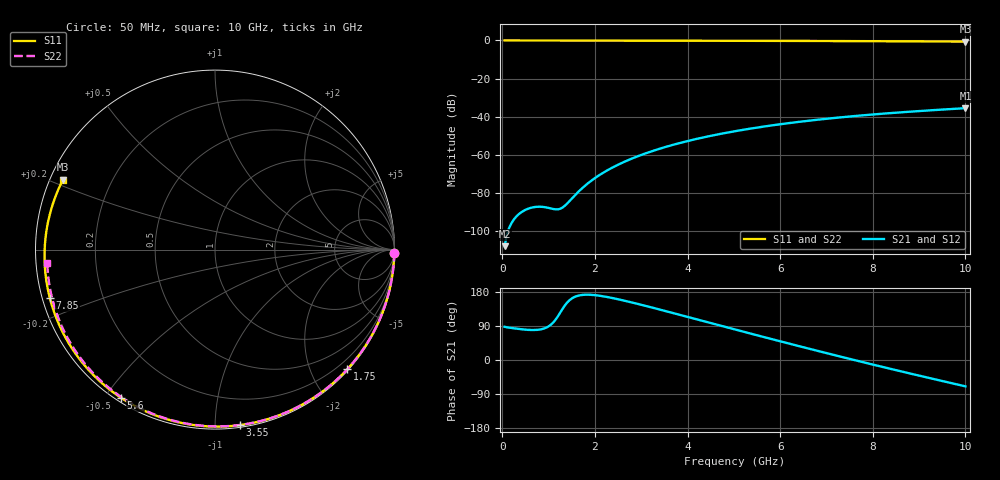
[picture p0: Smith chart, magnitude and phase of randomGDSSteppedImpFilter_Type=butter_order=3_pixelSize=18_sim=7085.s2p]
! freq	dB(S11)	phase(S11)	dB(S12)	phase(S12)
!  dB(S21)	phase(S21)	dB(S22)	phase(S22)
!S-par simulation data
#  GHz  S  DB  R 50
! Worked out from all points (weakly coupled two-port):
!   200 points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, 50 MHz to 10 GHz, reference 50 ohm
!   highest |S21| = -35.47 dB at 10 GHz (marker M1); lowest = -107.7 dB at 50 MHz (marker M2)
!   lowest |S11| = -0.6 dB at 10 GHz (marker M3), VSWR 28.59, Z = 1.83 + j10.9 ohm
!   |S11| at or under -10 dB: nowhere
!   |S22| runs from -0.6 to 0.0 dB; largest |S21 - S12| = 0
!   S11 on the Smith chart (normalised r, x): 50 MHz: 2, -97; 1.75 GHz: 0.02, -2.60; 3.55 GHz: 0.01, -1.15; 5.6 GHz: 0.01, -0.55; 7.85 GHz: 0.02, -0.14; 10 GHz: 0.04, +0.22
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0.05  -0.00 -1.2  -107.75 87.6  -107.75 87.6  -0.00 -1.0
0.45  -0.02 -11.0  -89.37 80.6  -89.37 80.6  -0.01 -9.2
0.8  -0.03 -19.5  -87.09 80.2  -87.09 80.2  -0.02 -16.4
1.2  -0.04 -29.1  -88.46 115.2  -88.46 115.2  -0.03 -24.5
1.6  -0.05 -38.6  -80.29 168.3  -80.29 168.3  -0.04 -32.5
1.75  -0.05 -42.1  -76.84 172.0  -76.84 172.0  -0.05 -35.5
2.05  -0.06 -49.0  -71.27 170.4  -71.27 170.4  -0.05 -41.4
2.25  -0.07 -53.5  -68.28 166.6  -68.28 166.6  -0.06 -45.2
2.45  -0.07 -58.0  -65.69 161.7  -65.69 161.7  -0.06 -49.1
2.9  -0.09 -68.0  -60.89 148.8  -60.89 148.8  -0.07 -57.7
3.4  -0.10 -78.7  -56.70 133.1  -56.70 133.1  -0.09 -66.9
3.55  -0.11 -81.9  -55.61 128.3  -55.61 128.3  -0.09 -69.7
4.3  -0.14 -97.2  -51.00 104.0  -51.00 104.0  -0.12 -83.1
5.05  -0.17 -111.9  -47.43 79.7  -47.43 79.7  -0.15 -96.0
5.6  -0.20 -122.4  -45.27 62.0  -45.27 62.0  -0.17 -105.2
6.15  -0.23 -132.6  -43.41 44.6  -43.41 44.6  -0.20 -114.2
6.7  -0.27 -142.6  -41.81 27.4  -41.81 27.4  -0.24 -123.0
7.3  -0.32 -153.6  -40.29 9.0  -40.29 9.0  -0.28 -132.5
7.85  -0.36 -163.6  -39.08 -7.6  -39.08 -7.6  -0.33 -141.1
8.35  -0.41 -172.8  -38.11 -22.4  -38.11 -22.4  -0.37 -149.0
9.2  -0.51 171.2  -36.66 -47.0  -36.66 -47.0  -0.46 -162.5
10  -0.61 155.3  -35.47 -69.5  -35.47 -69.5  -0.56 -175.5
